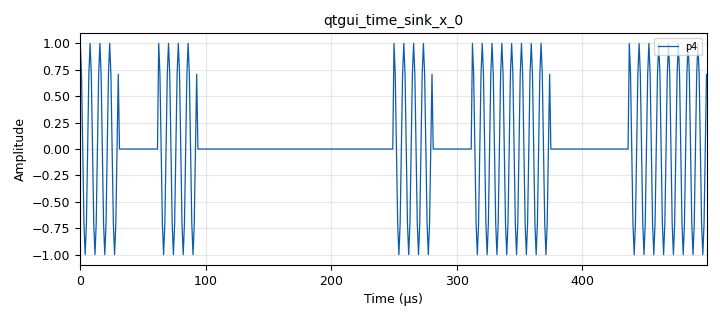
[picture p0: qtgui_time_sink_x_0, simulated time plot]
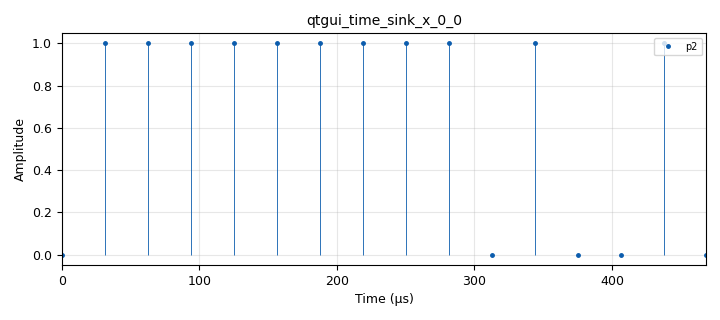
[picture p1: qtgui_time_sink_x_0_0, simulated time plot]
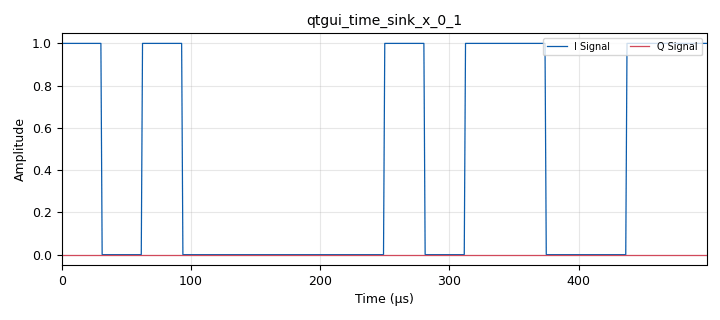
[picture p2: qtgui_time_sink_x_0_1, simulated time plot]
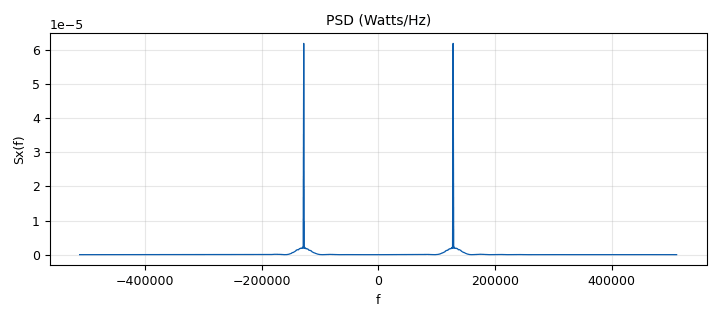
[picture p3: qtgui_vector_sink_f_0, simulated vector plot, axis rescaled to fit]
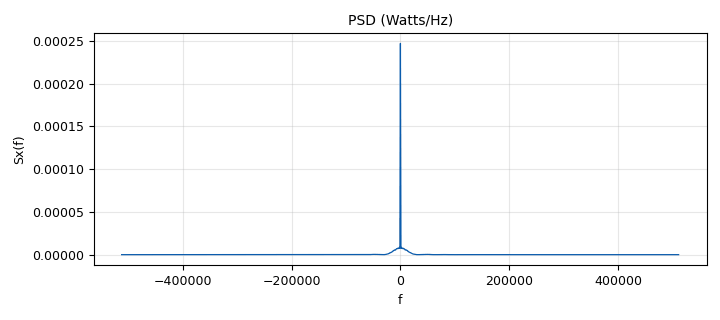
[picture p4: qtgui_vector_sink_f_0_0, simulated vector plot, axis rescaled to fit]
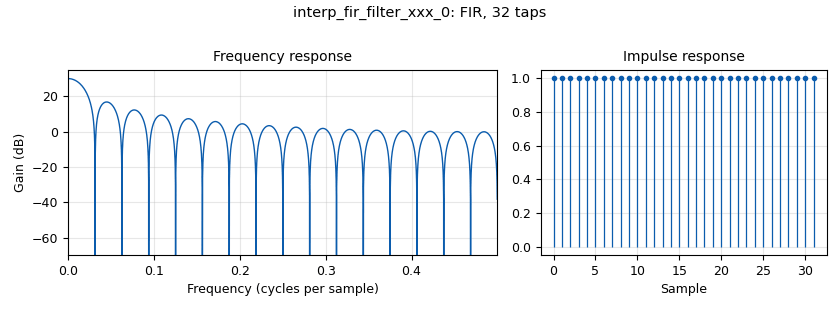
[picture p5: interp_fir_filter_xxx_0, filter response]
options:
  parameters:
    author: radiogis_director
    generate_options: qt_gui
    id: prac3a
    output_language: python
    title: Not titled yet
  states: {}

blocks:
- name: N
  id: variable
  parameters:
    value: '1024'
  states: {}
- name: Rb
  id: variable
  parameters:
    value: '32000'
  states: {}
- name: Sps
  id: variable
  parameters:
    value: '32'
  states: {}
- name: f
  id: variable
  parameters:
    value: Rb*k
  states: {}
- name: h
  id: variable
  parameters:
    value: '[1]*Sps'
  states: {}
- name: k
  id: variable
  parameters:
    value: '4'
  states: {}
- name: samp_rate
  id: variable
  parameters:
    value: Rb*Sps
  states: {}
- name: Menu
  id: qtgui_tab_widget
  parameters:
    label0: Time
    label1: Freq
    num_tabs: '2'
  states: {}
- name: VCO_hob
  id: epy_block
  parameters:
    _source_code: |
      import math
      import numpy as np
      from gnuradio import gr

      class blk(gr.sync_block):
          """genera una senoidad cuyos parametros pueden ser manipulados por las senales entrantes asi: la primera senal manipula la amplitud; la segunda la frecuencia; la tercera la fase"""
          def __init__(self, f=128000, samp_rate=32000):  # only default arguments here
              gr.sync_block.__init__(
                  self,
                  name='VCO_hob',   # will show up in GRC
                  in_sig=[np.float32, np.float32],
                  out_sig=[np.float32]
              )
              self.n_m=0 # guarda el ultimo valor de n
              self.f=f
              self.samp_rate=samp_rate

          def work(self, input_items, output_items):
              A=input_items[0]
              P=input_items[1]
              y=output_items[0]
              N=len(A)
              n=np.linspace(self.n_m, self.n_m+N-1,N)
              self.n_m += N
              y[:]=A*np.cos(2*math.pi*self.f*n/self.samp_rate+P)
              return len(y)
    f: f
    samp_rate: samp_rate
  states: {}
- name: VCO_hob_1
  id: epy_block
  parameters:
    _source_code: |
      import math
      import numpy as np
      from gnuradio import gr

      class blk(gr.sync_block):
          """genera una senoidad cuyos parametros pueden ser manipulados por las senales entrantes asi: la primera senal manipula la amplitud; la segunda la frecuencia; la tercera la fase"""
          def __init__(self, ):  # only default arguments here
              gr.sync_block.__init__(
                  self,
                  name='VCO_hob_fc',   # will show up in GRC
                  in_sig=[np.float32, np.float32],
                  out_sig=[np.complex64]
              )
              self.n_m=0 # guarda el ultimo valor de n
              #self.f=f
              #self.samp_rate=samp_rate

          def work(self, input_items, output_items):
              A=input_items[0]
              Q=input_items[1]
              y=output_items[0]
              N=len(A)
              n=np.linspace(self.n_m, self.n_m+N-1,N)
              self.n_m += N
              #y[:]=A*np.cos(2*math.pi*self.f*n/self.samp_rate+P)
              y[:]=A*np.exp(1j*Q)
              return len(y)
  states: {}
- name: analog_random_source_x_0
  id: analog_random_source_x
  parameters:
    max: '2'
    min: '0'
    num_samps: '1000000'
    repeat: 'True'
    type: byte
  states: {}
- name: blocks_add_const_vxx_0
  id: blocks_add_const_vxx
  parameters:
    const: '-0.5'
    type: float
  states: {state: disabled}
- name: blocks_char_to_float_0
  id: blocks_char_to_float
  parameters:
    scale: '1'
  states: {}
- name: blocks_complex_to_mag_squared_0
  id: blocks_complex_to_mag_squared
  parameters:
    vlen: N
  states: {}
- name: blocks_complex_to_mag_squared_0_0
  id: blocks_complex_to_mag_squared
  parameters:
    vlen: N
  states: {}
- name: blocks_multiply_const_vxx_0
  id: blocks_multiply_const_vxx
  parameters:
    const: '2'
    type: float
  states: {state: disabled}
- name: blocks_multiply_const_vxx_1
  id: blocks_multiply_const_vxx
  parameters:
    const: '[1/(N*samp_rate)]*N'
    type: float
    vlen: N
  states: {}
- name: blocks_multiply_const_vxx_1_0
  id: blocks_multiply_const_vxx
  parameters:
    const: '[1/(N*samp_rate)]*N'
    type: float
    vlen: N
  states: {}
- name: blocks_null_source_0
  id: blocks_null_source
  parameters:
    type: float
  states: {}
- name: blocks_null_source_0_0
  id: blocks_null_source
  parameters:
    type: float
  states: {}
- name: blocks_stream_to_vector_0
  id: blocks_stream_to_vector
  parameters:
    num_items: N
    type: float
  states: {}
- name: blocks_stream_to_vector_0_0
  id: blocks_stream_to_vector
  parameters:
    num_items: N
    type: complex
  states: {}
- name: epy_block_0
  id: epy_block
  parameters:
    N: N
    _source_code: |
      import numpy as np
      from gnuradio import gr


      class blk(gr.sync_block):  
          """vector averager. N is the lengh of the vector"""

          def __init__(self, N=1024):
              gr.sync_block.__init__(
                  self,
                  name='e_vec_averager_ff',   
                  in_sig=[(np.float32,N)],
                  out_sig=[(np.float32,N)]
              )
              self.N = N
              self.rows_counter=0
              self.sum=0

          def work(self, input_items, output_items):
              x=input_items[0]
              y=output_items[0]
              self.sum += np.sum(x, axis=0)
              self.rows_counter += len(x)
              y[:]=self.sum/self.rows_counter
              return len(output_items[0])
  states: {}
- name: epy_block_0_0
  id: epy_block
  parameters:
    N: N
    _source_code: |
      import numpy as np
      from gnuradio import gr


      class blk(gr.sync_block):  
          """vector averager. N is the lengh of the vector"""

          def __init__(self, N=1024):
              gr.sync_block.__init__(
                  self,
                  name='e_vec_averager_ff',   
                  in_sig=[(np.float32,N)],
                  out_sig=[(np.float32,N)]
              )
              self.N = N
              self.rows_counter=0
              self.sum=0

          def work(self, input_items, output_items):
              x=input_items[0]
              y=output_items[0]
              self.sum += np.sum(x, axis=0)
              self.rows_counter += len(x)
              y[:]=self.sum/self.rows_counter
              return len(output_items[0])
  states: {}
- name: fft_vxx_0
  id: fft_vxx
  parameters:
    fft_size: N
    forward: 'True'
    shift: 'True'
    type: float
    window: '[1]*N'
  states: {}
- name: fft_vxx_0_0
  id: fft_vxx
  parameters:
    fft_size: N
    forward: 'True'
    shift: 'True'
    type: complex
    window: '[1]*N'
  states: {}
- name: import_0
  id: import
  parameters:
    imports: import numpy as np
  states: {}
- name: interp_fir_filter_xxx_0
  id: interp_fir_filter_xxx
  parameters:
    interp: Sps
    taps: h
    type: fff
  states: {}
- name: note_0
  id: note
  parameters:
    note: INSTRUMENTOS
  states: {}
- name: qtgui_time_sink_x_0
  id: qtgui_time_sink_x
  parameters:
    autoscale: 'True'
    gui_hint: Menu@0:2,0,1,1
    label1: p4
    size: 16*Sps
    srate: samp_rate
    type: float
    width1: '3'
    ymax: '1.50'
    ymin: '-1.50'
  states: {}
- name: qtgui_time_sink_x_0_0
  id: qtgui_time_sink_x
  parameters:
    autoscale: 'True'
    gui_hint: Menu@0:1,0,1,1
    label1: p2
    marker1: '0'
    size: '16'
    srate: Rb
    stemplot: 'True'
    type: float
    width1: '3'
    ymax: '1.50'
    ymin: '-1.50'
  states: {}
- name: qtgui_time_sink_x_0_1
  id: qtgui_time_sink_x
  parameters:
    autoscale: 'True'
    gui_hint: Menu@0:3,0,1,1
    label1: I Signal
    label2: Q Signal
    size: 16*Sps
    srate: samp_rate
    type: complex
    width1: '3'
    width2: '3'
    ymax: '1.50'
    ymin: '-1.50'
  states: {}
- name: qtgui_vector_sink_f_0
  id: qtgui_vector_sink_f
  parameters:
    gui_hint: Menu@1:3,0,1,2
    label1: p4
    name: '"PSD (Watts/Hz)"'
    vlen: N
    width1: '3'
    x_axis_label: '"f"'
    x_start: '-samp_rate/2'
    x_step: samp_rate/N
    x_units: '"Hz"'
    y_axis_label: '"Sx(f)"'
    y_units: '"Watss/Hz"'
    ymax: 1/Rb
    ymin: '0'
  states: {}
- name: qtgui_vector_sink_f_0_0
  id: qtgui_vector_sink_f
  parameters:
    gui_hint: Menu@1:4,0,1,2
    label1: p4
    name: '"PSD (Watts/Hz)"'
    vlen: N
    width1: '3'
    x_axis_label: '"f"'
    x_start: '-samp_rate/2'
    x_step: samp_rate/N
    x_units: '"Hz"'
    y_axis_label: '"Sx(f)"'
    y_units: '"Watss/Hz"'
    ymax: 1/Rb
    ymin: '0'
  states: {}
- name: virtual_sink_0_1_0
  id: virtual_sink
  parameters:
    stream_id: p4
  states: {}
- name: virtual_sink_0_1_0_0
  id: virtual_sink
  parameters:
    stream_id: p5
  states: {}
- name: virtual_sink_0_1_0_0_0
  id: virtual_sink
  parameters:
    stream_id: p2
  states: {}
- name: virtual_source_0
  id: virtual_source
  parameters:
    stream_id: p4
  states: {}
- name: virtual_source_0_0
  id: virtual_source
  parameters:
    stream_id: p2
  states: {}
- name: virtual_source_0_1
  id: virtual_source
  parameters:
    stream_id: p5
  states: {}

connections:
- [VCO_hob, '0', virtual_sink_0_1_0, '0']
- [VCO_hob_1, '0', virtual_sink_0_1_0_0, '0']
- [analog_random_source_x_0, '0', blocks_char_to_float_0, '0']
- [blocks_add_const_vxx_0, '0', blocks_multiply_const_vxx_0, '0']
- [blocks_char_to_float_0, '0', blocks_add_const_vxx_0, '0']
- [blocks_char_to_float_0, '0', interp_fir_filter_xxx_0, '0']
- [blocks_char_to_float_0, '0', virtual_sink_0_1_0_0_0, '0']
- [blocks_complex_to_mag_squared_0, '0', epy_block_0, '0']
- [blocks_complex_to_mag_squared_0_0, '0', epy_block_0_0, '0']
- [blocks_multiply_const_vxx_0, '0', interp_fir_filter_xxx_0, '0']
- [blocks_multiply_const_vxx_0, '0', virtual_sink_0_1_0_0_0, '0']
- [blocks_multiply_const_vxx_1, '0', qtgui_vector_sink_f_0, '0']
- [blocks_multiply_const_vxx_1_0, '0', qtgui_vector_sink_f_0_0, '0']
- [blocks_null_source_0, '0', VCO_hob, '1']
- [blocks_null_source_0_0, '0', VCO_hob_1, '1']
- [blocks_stream_to_vector_0, '0', fft_vxx_0, '0']
- [blocks_stream_to_vector_0_0, '0', fft_vxx_0_0, '0']
- [epy_block_0, '0', blocks_multiply_const_vxx_1, '0']
- [epy_block_0_0, '0', blocks_multiply_const_vxx_1_0, '0']
- [fft_vxx_0, '0', blocks_complex_to_mag_squared_0, '0']
- [fft_vxx_0_0, '0', blocks_complex_to_mag_squared_0_0, '0']
- [interp_fir_filter_xxx_0, '0', VCO_hob, '0']
- [interp_fir_filter_xxx_0, '0', VCO_hob_1, '0']
- [virtual_source_0, '0', blocks_stream_to_vector_0, '0']
- [virtual_source_0, '0', qtgui_time_sink_x_0, '0']
- [virtual_source_0_0, '0', qtgui_time_sink_x_0_0, '0']
- [virtual_source_0_1, '0', blocks_stream_to_vector_0_0, '0']
- [virtual_source_0_1, '0', qtgui_time_sink_x_0_1, '0']

metadata:
  file_format: 1
